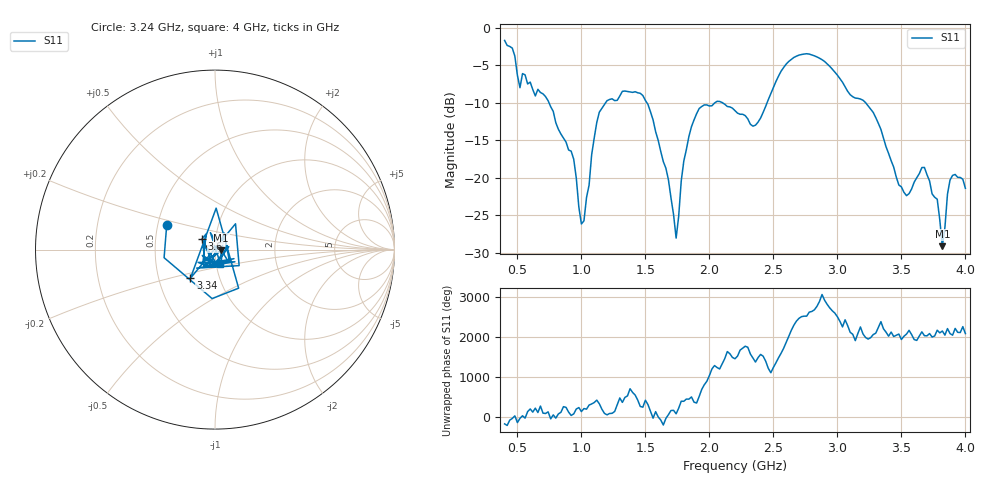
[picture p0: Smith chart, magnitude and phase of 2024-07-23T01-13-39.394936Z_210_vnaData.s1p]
!Created with skrf (http://scikit-rf.org).
# Hz S RI R 50.0
!freq ReS11 ImS11
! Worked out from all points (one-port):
!   181 points, 400 MHz to 4 GHz, reference 50 ohm
!   lowest |S11| = -29.1 dB at 3.82 GHz (marker M1), VSWR 1.07, Z = 53.6 - j0.334 ohm
!   |S11| at or under -10 dB: 747.2 MHz to 1.189 GHz (441.4 MHz wide, 45.6 % of centre); 1.513 GHz to 2.041 GHz (528.9 MHz wide, 29.8 % of centre); 3.222 GHz to end of sweep (the widest 3 of 4)
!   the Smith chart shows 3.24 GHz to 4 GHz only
!   S11 on the Smith chart (normalised r, x): 3.24 GHz: 0.56, +0.17; 3.34 GHz: 0.72, -0.24; 3.6 GHz: 0.86, +0.10; 4 GHz: 1.05, -0.17
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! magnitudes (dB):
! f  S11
! 400 MHz  -1.7
! 520 MHz  -8.0
! 720 MHz  -9.2
! 860 MHz  -14.7
! 940 MHz  -17.5
! 1 GHz  -26.2
! 1.14 GHz  -11.2
! 1.3 GHz  -9.1
! 1.52 GHz  -10.2
! 1.68 GHz  -20.3
! 1.74 GHz  -28.0
! 1.76 GHz  -25.1
! 1.8 GHz  -17.8
! 1.92 GHz  -10.7
! 2.2 GHz  -11.0
! 2.36 GHz  -13.0
! 2.66 GHz  -3.9
! 2.88 GHz  -4.2
! 3.1 GHz  -8.9
! 3.24 GHz  -10.4
! 3.34 GHz  -13.5
! 3.56 GHz  -22.1
! 3.6 GHz  -20.6
! 3.68 GHz  -18.6
! 3.78 GHz  -22.8
! 3.82 GHz  -29.1
! 3.88 GHz  -20.3
! 4 GHz  -21.4
